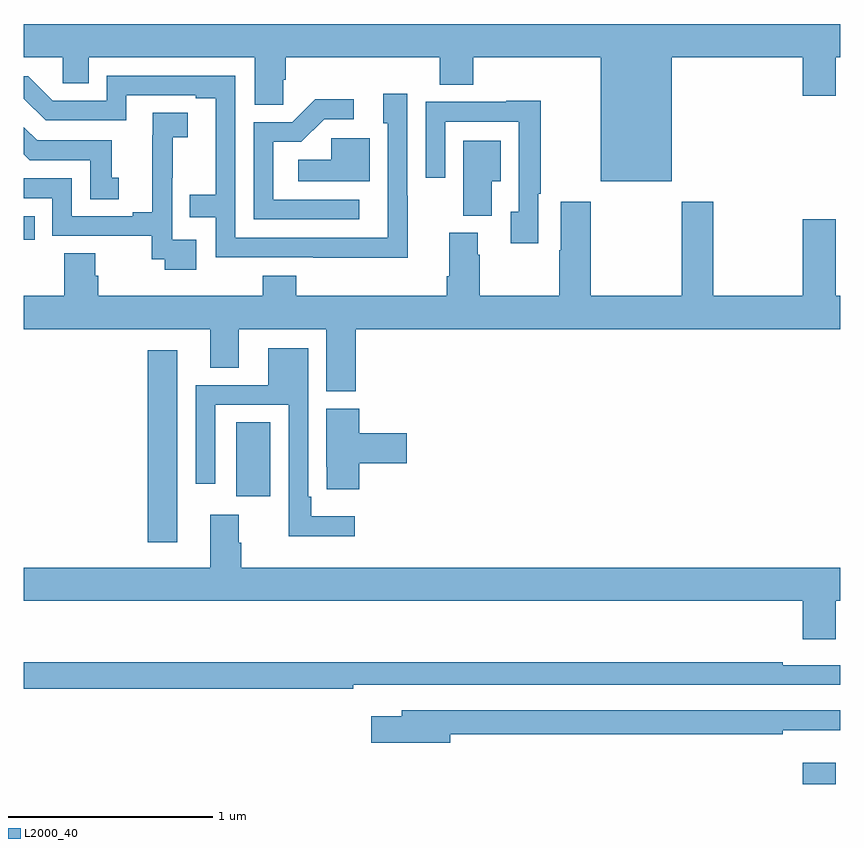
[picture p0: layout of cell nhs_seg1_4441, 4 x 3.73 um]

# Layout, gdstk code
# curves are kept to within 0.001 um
import gdstk
lib = gdstk.Library(unit=1e-6, precision=1e-09)
def R(c, l, rs):  # rectangles x0, y0, x1, y1
    for r in rs: c.add(gdstk.rectangle(r[:2], r[2:], *l))
def P(c, l, *ps):  # polygons
    for p in ps: c.add(gdstk.Polygon(p, *l))
L2000_40 = (2000, 40)

nhs_seg1_4441 = lib.new_cell('nhs_seg1_4441')
R(nhs_seg1_4441, L2000_40, [(356.816,520.199,356.98,520.303), (353.606,521.385,353.752,522.325), (354.041,521.61,354.208,521.972), (353,522.866,353.054,522.981)])
P(nhs_seg1_4441, L2000_40, [(356.176,523.76),(356.816,523.76),(356.816,523.572),(356.98,523.572),(356.98,523.76),(357,523.76),(357,523.924),(353,523.924),(353,523.76),(353.19,523.76),(353.19,523.633),(353.317,523.633),(353.317,523.76),(354.131,523.76),(354.131,523.528),(354.27,523.528),(354.27,523.651),(354.284,523.651),(354.284,523.76),(355.037,523.76),(355.037,523.627),(355.202,523.627),(355.202,523.76),(355.826,523.76),(355.826,523.154),(356.176,523.154)],
  [(354.881,523.082),(354.879,523.082),(354.879,523.582),(354.761,523.582),(354.761,523.437),(354.783,523.437),(354.783,522.876),(354.036,522.876),(354.036,523.671),(353.406,523.671),(353.406,523.548),(353.142,523.548),(353.022,523.668),(353,523.668),(353,523.558),(353.106,523.452),(353.502,523.452),(353.502,523.575),(353.843,523.575),(353.843,523.56),(353.939,523.56),(353.939,523.087),(353.812,523.087),(353.812,522.978),(353.94,522.978),(353.94,522.78),(354.881,522.779)],
  [(354.643,523.062),(354.222,523.062),(354.222,523.347),(354.36,523.347),(354.471,523.458),(354.616,523.458),(354.616,523.556),(354.428,523.556),(354.315,523.443),(354.126,523.443),(354.126,522.966),(354.643,522.966)],
  [(355.521,523.093),(355.534,523.093),(355.534,523.549),(355.365,523.549),(355.365,523.542),(354.969,523.542),(354.969,523.17),(355.065,523.17),(355.065,523.446),(355.425,523.446),(355.425,523.005),(355.385,523.005),(355.385,522.849),(355.521,522.849)],
  [(353.845,522.867),(353.727,522.867),(353.727,523.171),(353.729,523.171),(353.729,523.369),(353.803,523.369),(353.803,523.49),(353.632,523.49),(353.632,523.379),(353.63,523.379),(353.63,523.001),(353.534,523.001),(353.534,522.981),(353.235,522.981),(353.235,523.167),(353,523.167),(353,523.071),(353.139,523.071),(353.139,522.885),(353.626,522.885),(353.626,522.771),(353.689,522.771),(353.689,522.72),(353.845,522.72)],
  [(353.464,523.17),(353.431,523.17),(353.431,523.353),(353.064,523.353),(353,523.417),(353,523.285),(353.028,523.257),(353.324,523.257),(353.324,523.066),(353.464,523.066)],
  [(354.694,523.365),(354.507,523.365),(354.507,523.258),(354.345,523.258),(354.345,523.154),(354.694,523.154)],
  [(355.294,523.154),(355.336,523.154),(355.336,523.351),(355.154,523.351),(355.154,522.985),(355.294,522.985)],
  [(353.363,522.69),(353.35,522.69),(353.35,522.8),(353.198,522.8),(353.198,522.592),(353,522.592),(353,522.428),(353.912,522.428),(353.912,522.238),(354.052,522.238),(354.052,522.428),(354.482,522.428),(354.482,522.124),(354.626,522.124),(354.626,522.428),(357,522.428),(357,522.592),(356.98,522.592),(356.98,522.967),(356.816,522.967),(356.816,522.592),(356.379,522.592),(356.379,523.054),(356.224,523.054),(356.224,522.592),(355.779,522.592),(355.779,523.054),(355.631,523.054),(355.631,522.815),(355.624,522.815),(355.624,522.592),(355.233,522.592),(355.233,522.794),(355.225,522.794),(355.225,522.9),(355.085,522.9),(355.085,522.688),(355.073,522.688),(355.073,522.592),(354.335,522.592),(354.335,522.691),(354.17,522.691),(354.17,522.592),(353.363,522.592)],
  [(354.622,521.512),(354.409,521.512),(354.409,521.608),(354.393,521.608),(354.393,522.334),(354.197,522.334),(354.197,522.153),(353.841,522.153),(353.841,521.67),(353.937,521.67),(353.937,522.057),(354.297,522.057),(354.297,521.414),(354.622,521.414)],
  [(354.644,521.77),(354.877,521.77),(354.877,521.918),(354.644,521.918),(354.644,522.039),(354.482,522.039),(354.482,521.755),(354.483,521.755),(354.483,521.643),(354.644,521.643)],
  [(356.98,521.096),(357,521.096),(357,521.26),(354.065,521.26),(354.065,521.381),(354.052,521.381),(354.052,521.518),(353.912,521.518),(353.912,521.26),(353,521.26),(353,521.096),(356.816,521.096),(356.816,520.908),(356.98,520.908)],
  [(354.614,520.686),(357,520.686),(357,520.782),(356.72,520.782),(356.72,520.795),(353,520.795),(353,520.666),(354.614,520.666)],
  [(355.09,520.444),(356.72,520.444),(356.72,520.463),(357,520.463),(357,520.56),(354.851,520.56),(354.851,520.531),(354.702,520.531),(354.702,520.402),(355.09,520.402)])

lib.write_gds('nhs_seg1_4441.gds')
